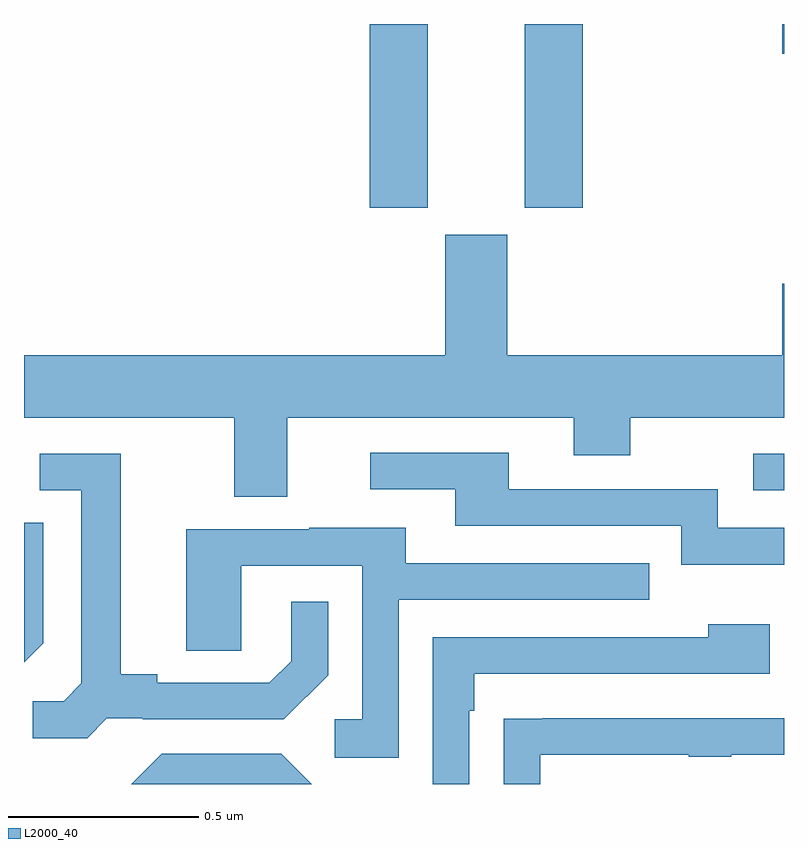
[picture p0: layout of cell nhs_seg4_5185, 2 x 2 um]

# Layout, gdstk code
import gdstk
lib = gdstk.Library(unit=1e-6, precision=1e-09)
def R(c, l, rs):  # rectangles x0, y0, x1, y1
    for r in rs: c.add(gdstk.rectangle(r[:2], r[2:], *l))
def P(c, l, *ps):  # polygons
    for p in ps: c.add(gdstk.Polygon(p, *l))
L2000_40 = (2000, 40)

nhs_seg4_5185 = lib.new_cell('nhs_seg4_5185')
R(nhs_seg4_5185, L2000_40, [(176.919,752.673,177,752.769), (175.91,753.417,176.062,753.9), (176.318,753.417,176.471,753.9), (176.996,753.822,177,753.9)])
P(nhs_seg4_5185, L2000_40, [(175.693,752.864),(176.447,752.864),(176.447,752.765),(176.595,752.765),(176.595,752.864),(177,752.864),(177,753.217),(176.996,753.217),(176.996,753.028),(176.272,753.028),(176.272,753.345),(176.108,753.345),(176.108,753.028),(175,753.028),(175,752.864),(175.553,752.864),(175.553,752.656),(175.693,752.656)],
  [(177,752.574),(176.826,752.574),(176.826,752.676),(176.275,752.676),(176.275,752.772),(175.911,752.772),(175.911,752.676),(176.135,752.676),(176.135,752.58),(176.73,752.58),(176.73,752.477),(177,752.477)],
  [(175.218,752.073),(175.312,752.073),(175.312,752.07),(175.684,752.07),(175.8,752.186),(175.8,752.38),(175.703,752.38),(175.703,752.223),(175.646,752.166),(175.351,752.166),(175.351,752.189),(175.255,752.189),(175.255,752.769),(175.041,752.769),(175.041,752.673),(175.151,752.673),(175.151,752.165),(175.104,752.118),(175.023,752.118),(175.023,752.021),(175.166,752.021)],
  [(175.05,752.27),(175.05,752.588),(175,752.588),(175,752.22)],
  [(175.986,752.385),(176.645,752.385),(176.645,752.481),(176.005,752.481),(176.005,752.575),(175.751,752.575),(175.751,752.571),(175.427,752.571),(175.427,752.251),(175.572,752.251),(175.572,752.475),(175.89,752.475),(175.89,752.07),(175.818,752.07),(175.818,751.969),(175.986,751.969)],
  [(176.172,752.093),(176.185,752.093),(176.185,752.19),(176.962,752.19),(176.962,752.32),(176.801,752.32),(176.801,752.286),(176.076,752.286),(176.076,751.9),(176.172,751.9)],
  [(176.359,751.977),(176.749,751.977),(176.749,751.972),(176.861,751.972),(176.861,751.977),(177,751.977),(177,752.073),(176.365,752.073),(176.365,752.072),(176.263,752.072),(176.263,751.9),(176.359,751.9)],
  [(175.677,751.98),(175.362,751.98),(175.282,751.9),(175.757,751.9)])

lib.write_gds('nhs_seg4_5185.gds')
